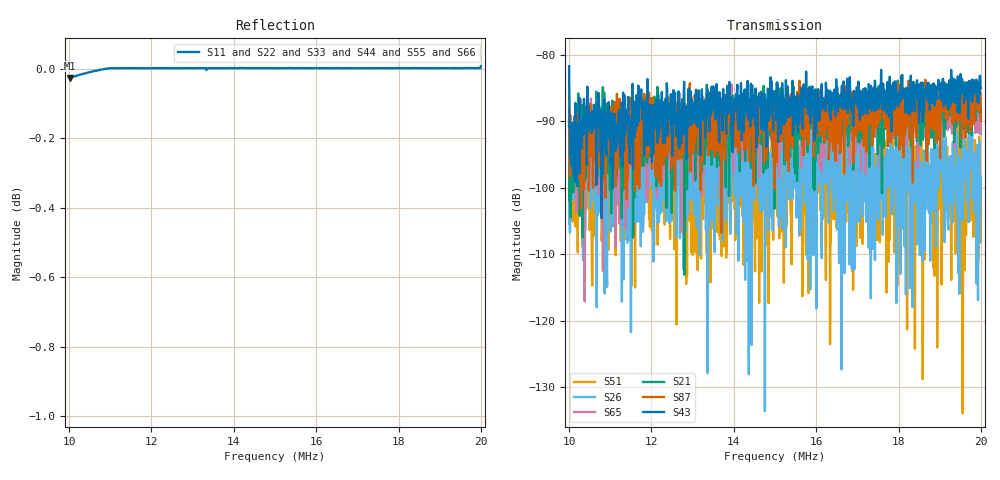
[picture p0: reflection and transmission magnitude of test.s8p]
!Keysight Technologies,M9370A,MY54322275,A.12.60.03
!Date: Friday, March 06, 2020 14:08:48
!Correction: S11(Full 8 Port(1,2,3,4,5,6,7,8))
!S12(Full 8 Port(1,2,3,4,5,6,7,8))
!S13(Full 8 Port(1,2,3,4,5,6,7,8))
!S14(Full 8 Port(1,2,3,4,5,6,7,8))
!S15(Full 8 Port(1,2,3,4,5,6,7,8))
!S16(Full 8 Port(1,2,3,4,5,6,7,8))
!S17(Full 8 Port(1,2,3,4,5,6,7,8))
!S18(Full 8 Port(1,2,3,4,5,6,7,8))
!S21(Full 8 Port(1,2,3,4,5,6,7,8))
!S22(Full 8 Port(1,2,3,4,5,6,7,8))
!S23(Full 8 Port(1,2,3,4,5,6,7,8))
!S24(Full 8 Port(1,2,3,4,5,6,7,8))
!S25(Full 8 Port(1,2,3,4,5,6,7,8))
!S26(Full 8 Port(1,2,3,4,5,6,7,8))
!S27(Full 8 Port(1,2,3,4,5,6,7,8))
!S28(Full 8 Port(1,2,3,4,5,6,7,8))
!S31(Full 8 Port(1,2,3,4,5,6,7,8))
!S32(Full 8 Port(1,2,3,4,5,6,7,8))
!S33(Full 8 Port(1,2,3,4,5,6,7,8))
!S34(Full 8 Port(1,2,3,4,5,6,7,8))
!S35(Full 8 Port(1,2,3,4,5,6,7,8))
!S36(Full 8 Port(1,2,3,4,5,6,7,8))
!S37(Full 8 Port(1,2,3,4,5,6,7,8))
!S38(Full 8 Port(1,2,3,4,5,6,7,8))
!S41(Full 8 Port(1,2,3,4,5,6,7,8))
!S42(Full 8 Port(1,2,3,4,5,6,7,8))
!S43(Full 8 Port(1,2,3,4,5,6,7,8))
!S44(Full 8 Port(1,2,3,4,5,6,7,8))
!S45(Full 8 Port(1,2,3,4,5,6,7,8))
!S46(Full 8 Port(1,2,3,4,5,6,7,8))
!S47(Full 8 Port(1,2,3,4,5,6,7,8))
!S48(Full 8 Port(1,2,3,4,5,6,7,8))
!S51(Full 8 Port(1,2,3,4,5,6,7,8))
!S52(Full 8 Port(1,2,3,4,5,6,7,8))
!S53(Full 8 Port(1,2,3,4,5,6,7,8))
!S54(Full 8 Port(1,2,3,4,5,6,7,8))
!S55(Full 8 Port(1,2,3,4,5,6,7,8))
!S56(Full 8 Port(1,2,3,4,5,6,7,8))
!S57(Full 8 Port(1,2,3,4,5,6,7,8))
!S58(Full 8 Port(1,2,3,4,5,6,7,8))
!S61(Full 8 Port(1,2,3,4,5,6,7,8))
!S62(Full 8 Port(1,2,3,4,5,6,7,8))
!S63(Full 8 Port(1,2,3,4,5,6,7,8))
!S64(Full 8 Port(1,2,3,4,5,6,7,8))
!S65(Full 8 Port(1,2,3,4,5,6,7,8))
!S66(Full 8 Port(1,2,3,4,5,6,7,8))
!S67(Full 8 Port(1,2,3,4,5,6,7,8))
!S68(Full 8 Port(1,2,3,4,5,6,7,8))
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# Hz S  RI  R 50
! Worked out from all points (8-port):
!   1000 points, 10 MHz to 20 MHz, reference 50 ohm
!   strongest paths, dB at 10 MHz, 12.5 MHz, 15.01 MHz, 17.51 MHz, 20 MHz:
!     S43: -81.7, -88.6, -85.5, -85.9, -85.0
!     S87: -88.0, -89.3, -92.4, -89.0, -89.9
!     S21: -89.5, -92.2, -94.7, -91.2, -88.6
!     S65: -90.3, -90.9, -89.2, -89.0, -85.7
!     S26: -105.3, -96.0, -94.3, -95.9, -98.3
!     S51: -86.1, -95.0, -100.8, -95.9, -108.2
!   lowest |S11| = 0.0 dB at 10.01 MHz (marker M1), VSWR 687.00, Z = 123 - j2.05e+03 ohm
!   |S11| at or under -10 dB: nowhere
